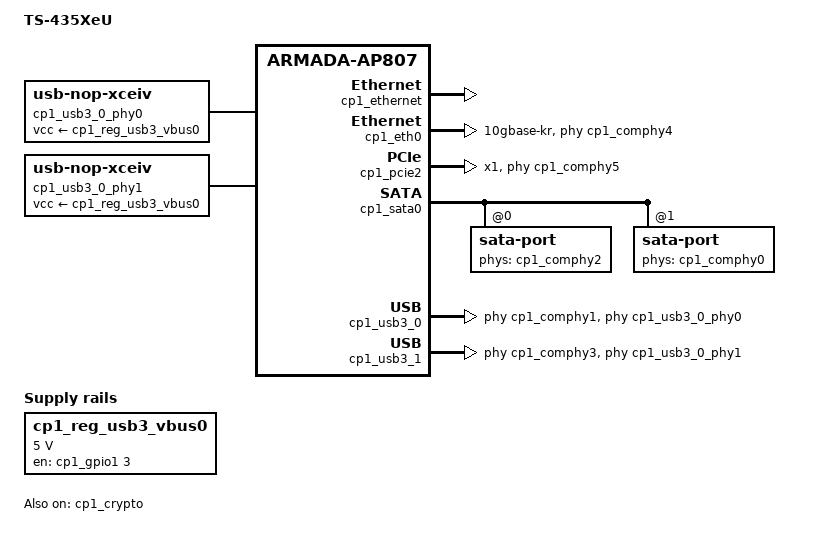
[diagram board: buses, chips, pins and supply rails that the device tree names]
// SPDX-License-Identifier: (GPL-2.0+ OR MIT)
/*
 * Copyright (C) 2019 Marvell International Ltd.
 *
 * Device tree for the CN9131-DB board.
 */

#include "cn9130-db.dts"

/ {
//	model = "QHora-321";
	model = "TS-435XeU";
	compatible = "marvell,cn9131", "marvell,cn9130",
		     "marvell,armada-ap807-quad", "marvell,armada-ap807";

	aliases {
//		i2c0 = &cp1_i2c0;
		ethernet3 = &cp1_eth0;
//		ethernet4 = &cp1_eth1;
		gpio3 = &cp1_gpio1;
        gpio4 = &cp1_gpio2;
	};

	cp1_reg_usb3_vbus0: cp1_usb3_vbus@0 {
		compatible = "regulator-fixed";
		pinctrl-names = "default";
		pinctrl-0 = <&cp1_xhci0_vbus_pins>;
		regulator-name = "cp1-xhci0-vbus";
		regulator-min-microvolt = <5000000>;
		regulator-max-microvolt = <5000000>;
		enable-active-high;
		gpio = <&cp1_gpio1 3 GPIO_ACTIVE_HIGH>;
	};

	cp1_usb3_0_phy0: cp1_usb3_phy0 {
		compatible = "usb-nop-xceiv";
		vcc-supply = <&cp1_reg_usb3_vbus0>;
	};

	cp1_usb3_0_phy1: cp1_usb3_phy1 {
		compatible = "usb-nop-xceiv";
		vcc-supply = <&cp1_reg_usb3_vbus0>;
	};

	cp1_sfp_eth1: sfp-eth@1 {
		compatible = "sff,sfp";
		i2c-bus = <&cp1_i2c0>;
		los-gpio = <&cp1_gpio1 11 GPIO_ACTIVE_HIGH>;
		mod-def0-gpio = <&cp1_gpio1 10 GPIO_ACTIVE_LOW>;
		tx-disable-gpio = <&cp1_gpio1 9 GPIO_ACTIVE_HIGH>;
		tx-fault-gpio = <&cp1_gpio1 8 GPIO_ACTIVE_HIGH>;
		pinctrl-names = "default";
		pinctrl-0 = <&cp1_sfp_pins>;
		/*
		 * SFP cages are unconnected on early PCBs because of an the I2C
		 * lanes not being connected. Prevent the port for being
		 * unusable by disabling the SFP node.
		 */
		status = "disabled";
	};
};

/*
 * Instantiate the first slave CP115
 */

#define CP11X_NAME		cp1
#define CP11X_NUM		1
#define CP11X_BASE		f4000000
#define CP11X_PCIEx_MEM_BASE(iface) (0xe2000000 + (iface * 0x1000000))
#define CP11X_PCIEx_MEM_SIZE(iface) 0xf00000
#define CP11X_PCIE0_BASE	f4600000
#define CP11X_PCIE1_BASE	f4620000
#define CP11X_PCIE2_BASE	f4640000

#include "armada-cp115.dtsi"

#undef CP11X_NAME
#undef CP11X_NUM
#undef CP11X_BASE
#undef CP11X_PCIEx_MEM_BASE
#undef CP11X_PCIEx_MEM_SIZE
#undef CP11X_PCIE0_BASE
#undef CP11X_PCIE1_BASE
#undef CP11X_PCIE2_BASE

&cp1_crypto {
	status = "okay";
};

&cp1_xmdio {
        status = "disabled";
        cp1_nbaset_phy0: ethernet-phy@3 {
                compatible = "ethernet-phy-ieee802.3-c45";
                reg = <2>;
        };
        cp1_nbaset_phy1: ethernet-phy@4 {
                compatible = "ethernet-phy-ieee802.3-c45";
                reg = <0>;
        };
        cp1_nbaset_phy2: ethernet-phy@5 {
                compatible = "ethernet-phy-ieee802.3-c45";
                reg = <8>;
        };
};

&cp1_ethernet {
	status = "okay";
};

/* CON50 */
&cp1_eth0 {
    status = "okay";
    phy-mode = "10gbase-kr";
    /* Generic PHY, providing serdes lanes */
    phys = <&cp1_comphy4 0>;
    managed = "in-band-status";
    sfp = <&cp1_sfp_eth1>;
    led-active = <156 1>; /* NUM Active_low */
    led-link-10G = <157 1>;
    led-link-1G = <158 1>;
};

&cp1_pcie2 {
    status = "okay";
    num-lanes = <1>;
    num-viewport = <8>;
    /* Generic PHY, providing serdes lanes */
    phys = <&cp1_comphy5 2>;
};

&cp1_sata0 {
    status = "okay";
    /* CON32 */
    sata-port@0 {
        status = "okay";
        /* Generic PHY, providing serdes lanes */
        phys = <&cp1_comphy2 0>;
    };
    sata-port@1 {
        status = "okay";
        /* Generic PHY, providing serdes lanes */
        phys = <&cp1_comphy0 1>;
    };
};

&cp1_gpio1 {
	status = "okay";
};

&cp1_gpio2 {
	status = "okay";
};

/*
&cp1_i2c0 {
	status = "okay";
	pinctrl-names = "default";
	pinctrl-0 = <&cp1_i2c0_pins>;
	clock-frequency = <100000>;
};
*/


/* CON40 */


/* U24 */
&cp1_syscon0 {
	cp1_pinctrl: pinctrl {
		compatible = "marvell,cp115-standalone-pinctrl";
		cp1_xhci0_vbus_pins: cp1-xhci0-vbus-pins {
			marvell,pins = "mpp3";
			marvell,function = "gpio";
		};
		cp1_sfp_pins: sfp-pins {
			marvell,pins = "mpp8", "mpp9", "mpp10", "mpp11";
			marvell,function = "gpio";
		};
		cp1_pcie_reset_pins: cp1-pcie-reset-pins {
			marvell,pins = "mpp0";
			marvell,function = "gpio";
		};
	};
};

/* CON58 */
&cp1_usb3_0 {
    status = "okay";
    usb-phy = <&cp1_usb3_0_phy0>;
    /* Generic PHY, providing serdes lanes */
    phys = <&cp1_comphy1 0>;
    phy-names = "usb";
};

&cp1_usb3_1 {
        status = "okay";
        usb-phy = <&cp1_usb3_0_phy1>;
        phys = <&cp1_comphy3 1>;
        phy-names = "usb";
};

&cp1_rtc {
    status = "disabled";
};

